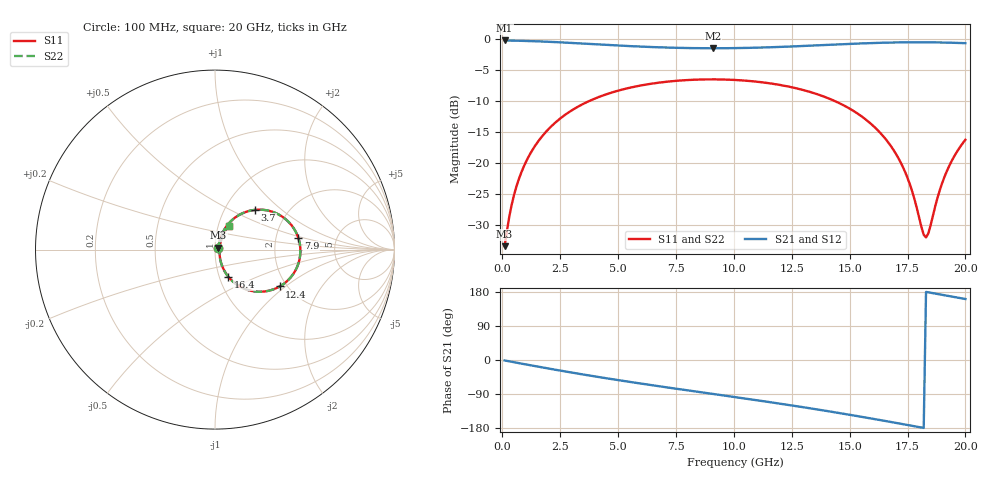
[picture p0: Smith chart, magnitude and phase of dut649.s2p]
! Touchstone file exported from HFSS 2026.1.0
!  File:  C:/ffzhzh/LocalFiles/Ansys_Project_Files/temp_train_TSV_RDL_649_1783129172_37876.aedt
!  Generated:  09:50:19 AM Jul  4, 2026
!  Design:  TSV_RDL
!  Project:  temp_train_TSV_RDL_649_1783129172_37876
! Variables:
!  h_bsmrdl = 4.88um
!  h_ox = 20um
!  h_rdl = 5um
!  h_sub = 84.13um
!  h_tmrdl = 2.08um
!  h_tsv = 84.13um
!  h_via = 3um
!  l_bsmrdl = 738.07um
!  l_sub = 3231.86um
!  l_tmrdl = 128.02um
!  m_sub = 200um
!  pitch = 34.13um
!  r_tsv = 5.32um
!  s_tmrdl = 10um
!  w_bsmrdl = 14.36um
!  w_sub = 500um
!  w_tmrdl = 20.83um
!  x_tsv_center1 = 138.435um
!  x_tsv_center2 = 890.865um
!  x_tsv_center3 = 1039.715um
!  x_tsv_center4 = 1792.145um
!  x_tsv_center5 = 1940.995um
!  x_tsv_center6 = 2693.425um
# GHz S MA R 50.000000
! Terminal data exported
! Port[1] = TM_RDL1_1_T1
! Port[2] = TM_RDL5_1_T1
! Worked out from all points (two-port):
!   200 points, 100 MHz to 20 GHz, reference 50 ohm
!   highest |S21| = -0.16 dB at 100 MHz (marker M1); lowest = -1.4 dB at 9.1 GHz (marker M2)
!   |S21| within 3 dB of the highest: start of sweep to end of sweep
!   lowest |S11| = -33.4 dB at 100 MHz (marker M3), VSWR 1.04, Z = 51.9 + j1.07 ohm
!   |S11| at or under -10 dB: start of sweep to 3.722 GHz; 14.39 GHz to end of sweep
!   |S22| runs from -33.4 to -6.4 dB; largest |S21 - S12| = 8.6e-14
!   S11 on the Smith chart (normalised r, x): 100 MHz: 1.04, +0.02; 3.7 GHz: 1.38, +0.68; 7.9 GHz: 2.68, +0.45; 12.4 GHz: 1.84, -0.91; 16.4 GHz: 1.11, -0.35; 20 GHz: 1.12, +0.31
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0.1  0.0214 28.7  0.9814 -1.2  0.9814 -1.2  0.0214 28.7
! Gamma 0 0 0 0
! Port Impedance 50 0 50 0
0.3  0.03688 54.3  0.9799 -3.5  0.9799 -3.5  0.03688 54.3
0.5  0.05484 62.0  0.978 -5.8  0.978 -5.8  0.05484 62.0
0.8  0.08229 65.5  0.975 -9.2  0.975 -9.2  0.08229 65.5
1.2  0.1189 65.3  0.9703 -13.7  0.9703 -13.7  0.1189 65.3
2.2  0.2057 58.4  0.9539 -24.7  0.9539 -24.7  0.2057 58.4
3.5  0.302 46.5  0.926 -38.3  0.926 -38.3  0.302 46.5
3.7  0.3149 44.7  0.9215 -40.4  0.9215 -40.4  0.3149 44.7
6.8  0.4487 17.2  0.8636 -69.5  0.8636 -69.5  0.4487 17.2
7.9  0.4689 8.0  0.853 -79.2  0.853 -79.2  0.4689 8.0
9.1  0.4759 -2.0  0.8489 -89.6  0.8489 -89.6  0.4759 -2.0
10.1  0.4701 -10.2  0.8516 -98.3  0.8516 -98.3  0.4701 -10.2
12.4  0.4149 -29.7  0.876 -119.0  0.876 -119.0  0.4149 -29.7
13.4  0.3714 -38.4  0.8924 -128.5  0.8924 -128.5  0.3714 -38.4
15.1  0.2694 -53.5  0.9222 -145.6  0.9222 -145.6  0.2694 -53.5
16.4  0.1697 -63.7  0.9404 -159.4  0.9404 -159.4  0.1697 -63.8
16.7  0.1446 -65.4  0.9434 -162.6  0.9434 -162.6  0.1446 -65.5
17.5  0.07623 -64.7  0.9484 -171.5  0.9484 -171.5  0.07614 -64.9
18.2  0.0265 -19.6  0.9489 -179.2  0.9489 -179.2  0.02617 -19.9
18.3  0.0252 -0.5  0.9486 179.7  0.9486 179.7  0.02484 -0.5
19.1  0.07792 60.0  0.9439 170.8  0.9439 170.8  0.07777 60.2
20  0.1547 59.9  0.9331 160.9  0.9331 160.9  0.1546 60.1
